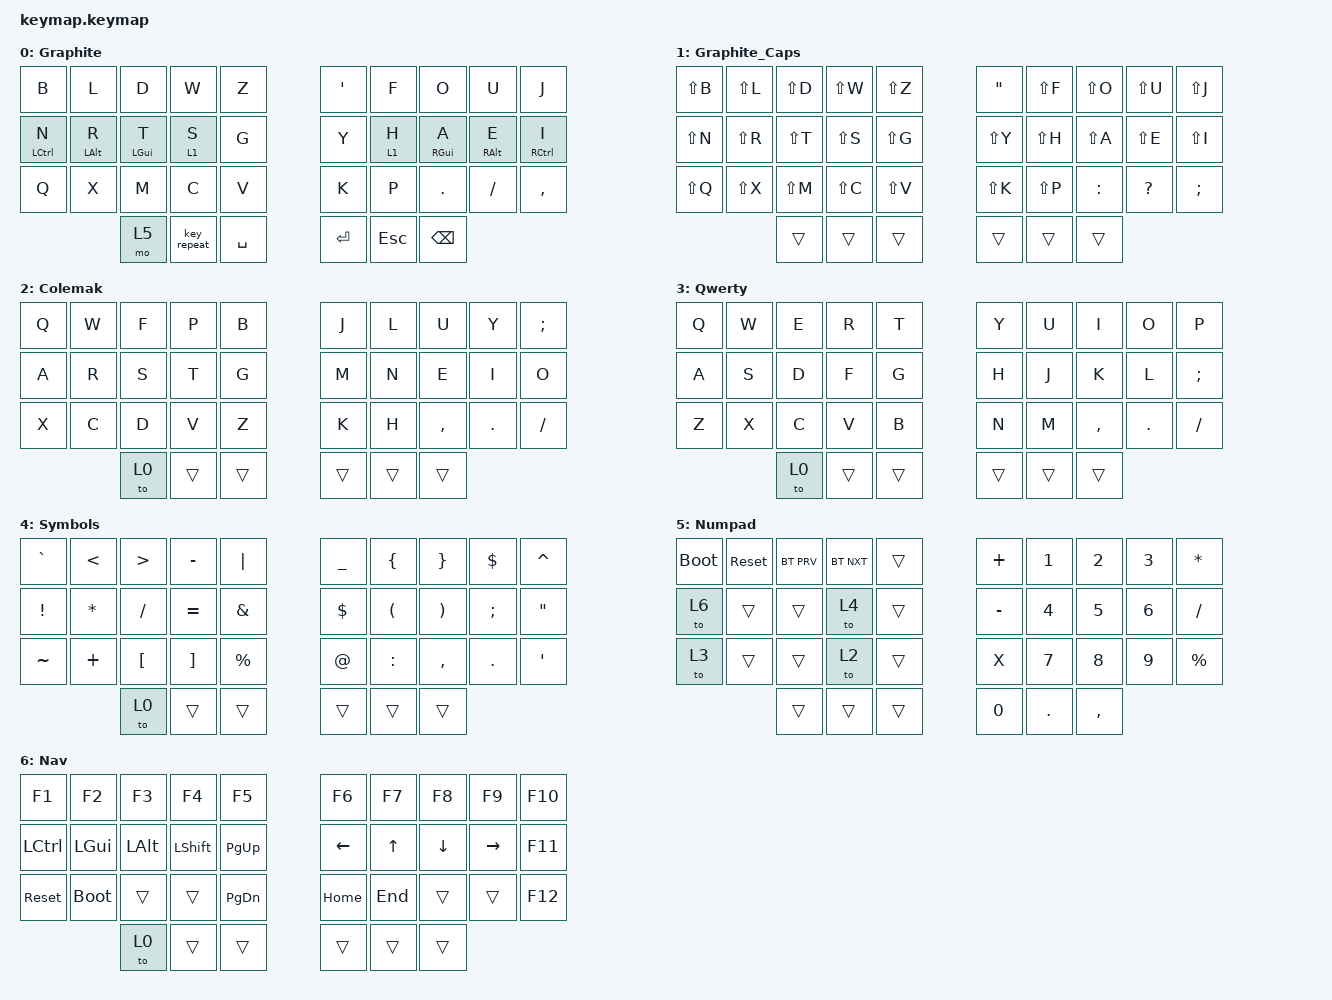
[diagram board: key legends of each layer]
#include <behaviors.dtsi>
#include <dt-bindings/zmk/bt.h>
#include <dt-bindings/zmk/keys.h>

/ {
    keymap {
        compatible = "zmk,keymap";

        Graphite {
            bindings = <
        //  b l d w z  ' f o u j
        //  n r t s g  y h a e i
        //  q x m c v  k p . / ,
&kp B  &kp L  &kp D  &kp W  &kp Z                                      &kp SQT  &kp F  &kp O  &kp U  &kp J
&mt LEFT_CONTROL N  &mt LEFT_ALT R  &mt LEFT_GUI T  &lt 1 S  &kp G     &kp Y  &lt 1 H  &mt RIGHT_GUI A  &mt RIGHT_ALT E  &mt RIGHT_CONTROL I
&kp Q  &kp X  &kp M  &kp C  &kp V                                      &kp K  &kp P  &kp PERIOD  &kp SLASH  &kp COMMA
                                     &mo 5  &key_repeat  &kp SPACE     &kp ENTER  &kp ESCAPE  &kp BACKSPACE
            >;
        };

        Graphite_Caps {
            bindings = <
        //  B L D W Z  " F O U J
        //  N R T S G  Y H A E I
        //  Q X M C V  K P : ? ;
&kp LS(B)  &kp LS(L)  &kp LS(D)  &kp LS(W)  &kp LS(Z)    &kp DQT  &kp LS(F)  &kp LS(O)      &kp LS(U)      &kp LS(J)
&kp LS(N)  &kp LS(R)  &kp LS(T)  &kp LS(S)  &kp LS(G)    &kp LS(Y)    &kp LS(H)  &kp LS(A)      &kp LS(E)      &kp LS(I)
&kp LS(Q)  &kp LS(X)  &kp LS(M)  &kp LS(C)  &kp LS(V)    &kp LS(K)    &kp LS(P)  &kp COLON  &kp QMARK  &kp SEMI
                              &trans     &trans     &trans       &trans       &trans     &trans
            >;
        };

        Colemak {
            bindings = <
&kp Q  &kp W  &kp F  &kp P   &kp B     &kp J   &kp L   &kp U      &kp Y    &kp SEMI
&kp A  &kp R  &kp S  &kp T   &kp G     &kp M   &kp N   &kp E      &kp I    &kp O
&kp X  &kp C  &kp D  &kp V   &kp Z     &kp K   &kp H   &kp COMMA  &kp DOT  &kp FSLH
                      &to 0  &trans  &trans    &trans  &trans  &trans
            >;
        };

        Qwerty {
            bindings = <
&kp Q  &kp W  &kp E  &kp R   &kp T     &kp Y   &kp U   &kp I      &kp O    &kp P
&kp A  &kp S  &kp D  &kp F   &kp G     &kp H   &kp J   &kp K      &kp L    &kp SEMI
&kp Z  &kp X  &kp C  &kp V   &kp B     &kp N   &kp M   &kp COMMA  &kp DOT  &kp FSLH
                      &to 0  &trans  &trans    &trans  &trans  &trans
            >;
        };

        Symbols {
            bindings = <
&kp GRAVE      &kp LT    &kp GT  &kp MINUS  &kp PIPE     &kp UNDER  &kp LBRC   &kp RBRC  &kp DLLR  &kp CARET
&kp EXCL   &kp STAR  &kp FSLH    &kp EQUAL  &kp AMPS     &kp DLLR   &kp LPAR   &kp RPAR  &kp SEMI      &kp DQT
&kp TILDE  &kp PLUS  &kp LBKT    &kp RBKT   &kp PRCNT    &kp AT     &kp COLON  &kp COMMA     &kp DOT       &kp SQT
                                     &to 0       &trans     &trans           &trans         &trans         &trans
            >;
        };

        Numpad {
            bindings = <
&bootloader  &sys_reset  &bt BT_PRV  &bt BT_NXT  &trans    &kp PLUS  &kp N1      &kp N2     &kp N3  &kp STAR
&to 6        &trans      &trans      &to 4       &trans    &kp MINUS     &kp N4      &kp N5     &kp N6  &kp FSLH
&to 3        &trans      &trans      &to 2       &trans    &kp X         &kp N7      &kp N8     &kp N9  &kp PRCNT
                                 &trans      &trans      &trans    &kp N0        &kp PERIOD  &kp COMMA
            >;
        };

        Nav {
            bindings = <
&kp F1      &kp F2       &kp F3    &kp F4     &kp F5           &kp F6    &kp F7   &kp F8    &kp F9     &kp F10
&kp LCTRL   &kp LGUI     &kp LALT  &kp LSHFT  &kp PAGE_UP      &kp LEFT  &kp UP   &kp DOWN  &kp RIGHT  &kp F11
&sys_reset  &bootloader  &trans    &trans     &kp PAGE_DOWN    &kp HOME  &kp END  &trans    &trans     &kp F12
                                 &to 0     &trans     &trans           &trans    &trans   &trans
            >;
        };
    };
};
